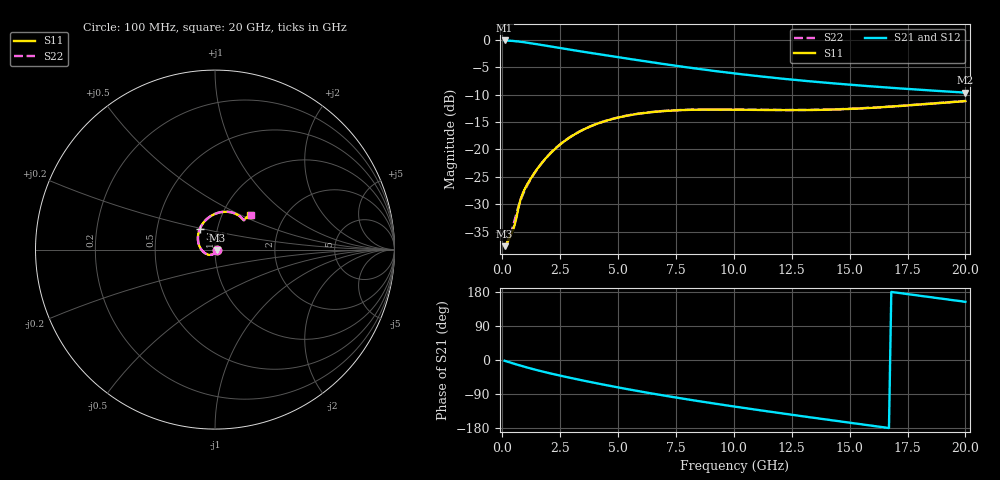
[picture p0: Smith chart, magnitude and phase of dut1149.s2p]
! Touchstone file exported from HFSS 2024.1.0
!  File:  C:/UserFiles/LocalFiles/RDL_TSV_Batchsim/temp_RDL_TSV_1149_1780116806.aedt
!  Generated:  01:05:48 PM May 30, 2026
!  Design:  RDL_TSV
!  Project:  temp_RDL_TSV_1149_1780116806
!  Setup:  Setup1
!  Solution:  Sweep
! Variables:
!  dtsv = 14.96um
!  hbump = 3um
!  htsv = 82.51um
!  ldown = 640.4um
!  lrdl = 187.78um
!  p = 40
!  p1 = 47.69um
!  rhole = 10um
!  subl = 2672.32um
!  t = 450um
!  tdown = 4.22um
!  trdl = 4.13um
!  viad = 10um
!  wdown = 23.35um
!  wrdl = 12.38um
!  xbump = 18um
# GHz S MA R 50.000000
! Terminal data exported
! Port[1] = TM1_1_T1
! Port[2] = TM1_4_T1
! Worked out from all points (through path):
!   200 points, 100 MHz to 20 GHz, reference 50 ohm
!   highest |S21| = -0.12 dB at 100 MHz (marker M1); lowest = -9.6 dB at 20 GHz (marker M2)
!   group delay of S21, straight-line fit = 27 ps
!   lowest |S11| = -37.7 dB at 100 MHz (marker M3), VSWR 1.03, Z = 51.2 - j0.484 ohm
!   |S11| at or under -10 dB: start of sweep to end of sweep
!   |S22| runs from -37.7 to -11.2 dB; largest |S21 - S12| = 7.8e-15
!   S11 on the Smith chart (normalised r, x): 100 MHz: 1.02, -0.01; 3.3 GHz: 0.82, +0.20; 20 GHz: 1.36, +0.57
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0.1  0.01307 -21.2  0.9868 -2.0  0.9868 -2.0  0.01307 -21.2
! Gamma 0 0 0 0
! Port Impedance 50 0 50 0
0.3  0.01542 -59.4  0.982 -5.9  0.982 -5.9  0.01543 -61.6
0.5  0.01937 -93.6  0.9746 -9.7  0.9746 -9.7  0.02129 -95.2
0.7  0.02938 -122.0  0.9648 -13.3  0.9648 -13.3  0.03025 -116.7
0.8  0.03556 -128.3  0.9591 -15.1  0.9591 -15.1  0.03483 -124.6
0.9  0.04044 -133.7  0.953 -16.9  0.953 -16.9  0.03928 -131.9
1.3  0.05717 -157.3  0.9258 -23.6  0.9258 -23.6  0.05674 -157.4
1.7  0.07486 -178.6  0.8967 -29.9  0.8967 -29.9  0.07481 -178.7
2.2  0.09761 159.8  0.861 -37.2  0.861 -37.2  0.09774 159.8
2.7  0.1197 142.5  0.8273 -44.0  0.8273 -44.0  0.1199 142.4
3.3  0.1439 125.6  0.7896 -51.8  0.7896 -51.8  0.1443 125.6
3.5  0.1514 120.8  0.7776 -54.3  0.7776 -54.3  0.1517 120.7
4.2  0.1744 106.0  0.7374 -62.9  0.7374 -62.9  0.1748 106.0
5  0.1951 92.5  0.6945 -72.3  0.6945 -72.3  0.1956 92.5
6.8  0.2223 70.9  0.6087 -91.9  0.6087 -91.9  0.2229 71.0
8.4  0.2303 58.7  0.5455 -107.8  0.5455 -107.8  0.231 58.8
10.1  0.2303 50.9  0.4914 -123.5  0.4914 -123.5  0.2311 50.9
11.7  0.2283 47.0  0.4507 -137.6  0.4507 -137.6  0.2291 47.1
13.4  0.2288 45.6  0.416 -152.1  0.416 -152.1  0.2296 45.6
15  0.2339 45.5  0.3894 -165.5  0.3894 -165.5  0.2347 45.6
16.7  0.2448 45.7  0.3659 -179.5  0.3659 -179.5  0.2456 45.8
20  0.276 44.2  0.3297 153.5  0.3297 153.5  0.2767 44.3
